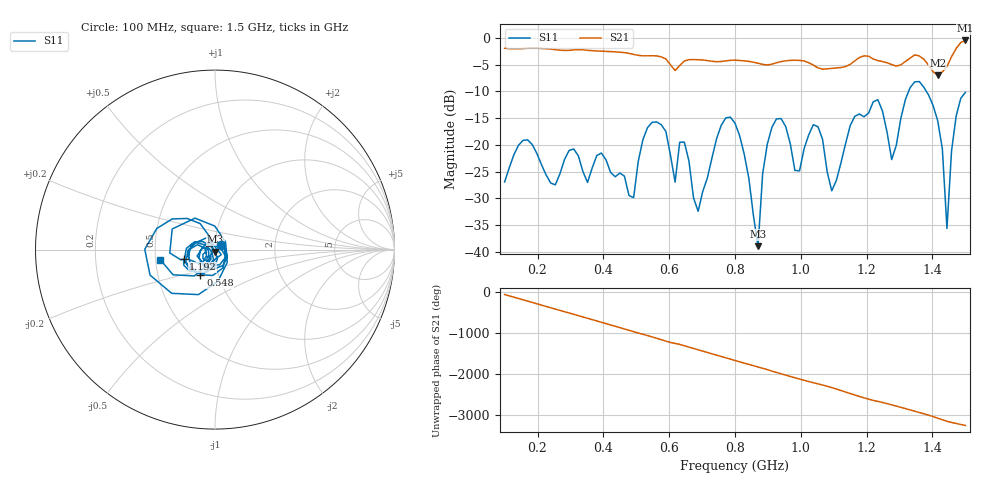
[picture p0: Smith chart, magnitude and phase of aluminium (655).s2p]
! NanoVNA-App
! Date: 2025-09-25 15:00:22
! Start: 100MHz Stop: 1,5GHz Points: 101
! S-Parameter data: F S11 S21 S12 S22
# Hz S RI R 50
!  Frequency  S11_Real  S11_Imag  S21_Real  S21_Imag  S12_Real  S12_Imag  S22_Real  S22_Imag
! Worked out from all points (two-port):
!   101 points, 100 MHz to 1.5 GHz, reference 50 ohm
!   highest |S21| = -0.45 dB at 1.5 GHz (marker M1); lowest = -7.0 dB at 1.416 GHz (marker M2)
!   |S21| within 3 dB of the highest: start of sweep to 570.2 MHz; 1.458 GHz to end of sweep (the widest 2 of 4)
!   lowest |S11| = -39.0 dB at 870 MHz (marker M3), VSWR 1.02, Z = 50.1 - j1.12 ohm
!   |S11| at or under -10 dB: start of sweep to 1.327 GHz; 1.382 GHz to end of sweep
!   S12 and S22 are empty: the file has one direction only
!   S11 on the Smith chart (normalised r, x): 100 MHz: 1.07, +0.06; 548 MHz: 0.82, -0.24; 1.192 GHz: 0.70, -0.08; 1.5 GHz: 0.53, -0.07
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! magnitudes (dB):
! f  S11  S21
! 100 MHz  -27.0  -1.9
! 156 MHz  -19.2  -2.0
! 338 MHz  -25.0  -2.2
! 492 MHz  -29.9  -3.1
! 548 MHz  -15.8  -3.3
! 576 MHz  -16.2  -3.5
! 646 MHz  -19.5  -4.3
! 688 MHz  -32.5  -4.1
! 800 MHz  -15.9  -4.1
! 870 MHz  -39.0  -4.7
! 912 MHz  -16.7  -4.9
! 996 MHz  -24.9  -4.2
! 1.038 GHz  -16.2  -5.1
! 1.094 GHz  -28.6  -5.7
! 1.192 GHz  -14.8  -3.3
! 1.234 GHz  -11.5  -4.2
! 1.276 GHz  -22.8  -5.0
! 1.346 GHz  -8.2  -3.2
! 1.416 GHz  -15.5  -7.0
! 1.444 GHz  -35.7  -5.3
! 1.472 GHz  -14.6  -2.0
! 1.5 GHz  -10.2  -0.5
